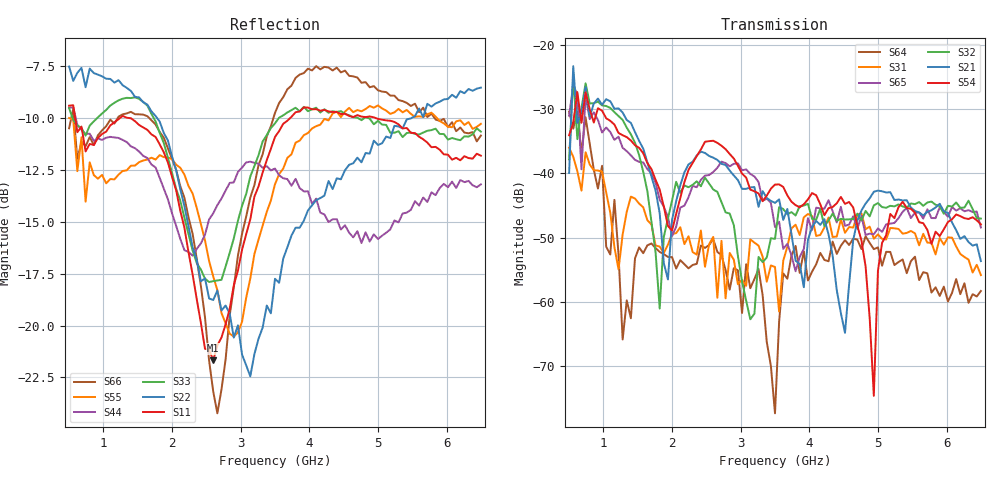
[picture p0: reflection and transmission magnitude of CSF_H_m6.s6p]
!Keysight Technologies,M9804A,MY58100912,A.14.10.03
!Date: Thursday, April 27, 2023 10:28:33
!Correction: S11(C  6-Port  )
!S12(C  6-Port  )
!S13(C  6-Port  )
!S14(C  6-Port  )
!S15(C  6-Port  )
!S16(C  6-Port  )
!S21(C  6-Port  )
!S22(C  6-Port  )
!S23(C  6-Port  )
!S24(C  6-Port  )
!S25(C  6-Port  )
!S26(C  6-Port  )
!S31(C  6-Port  )
!S32(C  6-Port  )
!S33(C  6-Port  )
!S34(C  6-Port  )
!S35(C  6-Port  )
!S36(C  6-Port  )
!S41(C  6-Port  )
!S42(C  6-Port  )
!S43(C  6-Port  )
!S44(C  6-Port  )
!S45(C  6-Port  )
!S46(C  6-Port  )
!S51(C  6-Port  )
!S52(C  6-Port  )
!S53(C  6-Port  )
!S54(C  6-Port  )
!S55(C  6-Port  )
!S56(C  6-Port  )
!S61(C  6-Port  )
!S62(C  6-Port  )
!S63(C  6-Port  )
!S64(C  6-Port  )
!S65(C  6-Port  )
!S66(C  6-Port  )
!S6P File: Measurement: :
# Hz S  RI  R 50
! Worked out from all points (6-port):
!   101 points, 500 MHz to 6.5 GHz, reference 50 ohm
!   strongest paths, dB at 500 MHz, 2 GHz, 3.5 GHz, 5 GHz, 6.5 GHz:
!     S54: -34.1, -48.9, -41.7, -55.1, -47.9
!     S21: -39.9, -47.2, -44.6, -42.7, -53.6
!     S32: -37.8, -44.2, -50.2, -44.6, -47.0
!     S65: -31.0, -49.7, -48.4, -48.6, -48.4
!     S31: -36.0, -49.4, -54.6, -49.5, -55.8
!     S64: -30.4, -53.0, -77.3, -51.5, -58.3
!   lowest |S11| = -21.7 dB at 2.6 GHz (marker M1), VSWR 1.18, Z = 42.6 + j1.99 ohm
!   |S11| at or under -10 dB: 588.7 MHz to 1.239 GHz (649.8 MHz wide, 71.1 % of centre); 1.392 GHz to 3.719 GHz (2.327 GHz wide, 91.1 % of centre); 4.972 GHz to end of sweep
